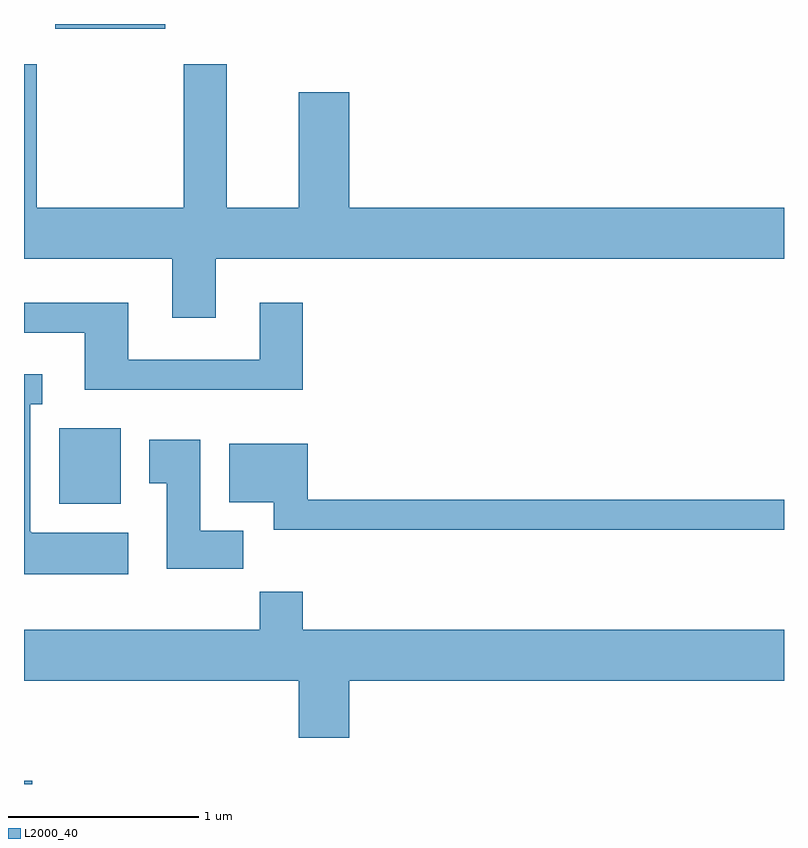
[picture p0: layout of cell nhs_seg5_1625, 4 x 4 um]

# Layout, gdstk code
import gdstk
lib = gdstk.Library(unit=1e-6, precision=1e-09)
def R(c, l, rs):  # rectangles x0, y0, x1, y1
    for r in rs: c.add(gdstk.rectangle(r[:2], r[2:], *l))
def P(c, l, *ps):  # polygons
    for p in ps: c.add(gdstk.Polygon(p, *l))
L2000_40 = (2000, 40)

nhs_seg5_1625 = lib.new_cell('nhs_seg5_1625')
R(nhs_seg5_1625, L2000_40, [(233.611,1414.072,233.654,1414.089), (233.796,1415.546,234.119,1415.944), (233.776,1418.046,234.354,1418.072)])
P(nhs_seg5_1625, L2000_40, [(234.619,1416.836),(237.611,1416.836),(237.611,1417.104),(235.324,1417.104),(235.324,1417.714),(235.056,1417.714),(235.056,1417.104),(234.679,1417.104),(234.679,1417.859),(234.451,1417.859),(234.451,1417.104),(233.679,1417.104),(233.679,1417.859),(233.611,1417.859),(233.611,1416.836),(234.391,1416.836),(234.391,1416.526),(234.619,1416.526)],
  [(235.079,1416.604),(234.851,1416.604),(234.851,1416.304),(234.159,1416.304),(234.159,1416.604),(233.611,1416.604),(233.611,1416.446),(233.931,1416.446),(233.931,1416.146),(235.079,1416.146)],
  [(234.159,1415.394),(233.65,1415.394),(233.65,1415.4),(233.644,1415.4),(233.644,1416.071),(233.708,1416.071),(233.708,1416.229),(233.611,1416.229),(233.611,1415.176),(234.159,1415.176)],
  [(234.764,1415.404),(234.539,1415.404),(234.539,1415.884),(234.271,1415.884),(234.271,1415.656),(234.361,1415.656),(234.361,1415.206),(234.764,1415.206)],
  [(237.611,1415.569),(235.104,1415.569),(235.104,1415.864),(234.691,1415.864),(234.691,1415.556),(234.926,1415.556),(234.926,1415.411),(237.611,1415.411)],
  [(235.324,1414.616),(237.611,1414.616),(237.611,1414.884),(235.079,1414.884),(235.079,1415.084),(234.851,1415.084),(234.851,1414.884),(233.611,1414.884),(233.611,1414.616),(235.056,1414.616),(235.056,1414.316),(235.324,1414.316)])

lib.write_gds('nhs_seg5_1625.gds')
